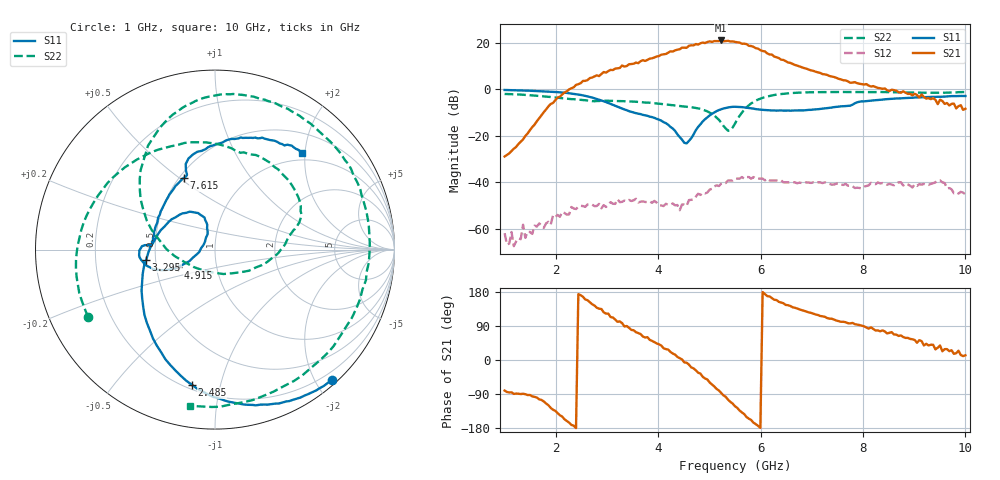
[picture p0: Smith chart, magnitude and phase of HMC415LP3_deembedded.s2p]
!Hittite Microwave Corporation
!12 Elizabeth Drive
!Chelmsford, MA 01824
!Tel: 978-250-3343
!Fax: 978-250-3373
!Device: HMC415LP3, 4.9-5.9 GHz, GaAS InGaP HBT MMIC Power Amplifier in Leadless LP3 SMT Package
!Misc: Input reference is the input pin of the device, output reference is the last component on output line, Vs=3V, Vpd=3V, Room
# MHZ S MA R 50
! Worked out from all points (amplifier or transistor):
!   201 points, 1 GHz to 10 GHz, reference 50 ohm
!   highest |S21| = 21.1 dB at 5.23 GHz (marker M1)
!   |S21| within 3 dB of that: 4.564 GHz to 5.88 GHz (1.317 GHz wide, 25.2 % of centre)
!   unconditionally stable (mu >= 1): start of sweep to end of sweep
!   at 2.485 GHz: K = 31.13, MAG = 8.5 dB, |S12| = -50.1 dB
!   at 5.5 GHz: K = 3.12, MAG = 21.6 dB, |S12| = -38.4 dB
!   at 10 GHz: K = 24.43, MAG = 1.6 dB, |S12| = -45.2 dB
!   S11 on the Smith chart (normalised r, x): 1 GHz: 0.07, -2.24; 2.485 GHz: 0.23, -0.82; 3.295 GHz: 0.44, -0.06; 4.915 GHz: 0.65, -0.14; 7.615 GHz: 0.53, +0.52; 10 GHz: 0.86, +1.95
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1000  0.976 -48.0  0.036 -80.7  0.0008044 175.2  0.801 -152.1
2485  0.764 -99.7  1.364 171.1  0.003116 130.2  0.599 94.6
2530  0.747 -102.5  1.529 166.9  0.003079 144.8  0.592 91.0
3295  0.387 -171.7  3.285 97.3  0.003798 112.2  0.561 42.1
4015  0.224 114.7  5.254 41.4  0.003229 92.0  0.495 18.0
4330  0.128 110.2  6.955 14.1  0.003186 105.5  0.452 14.0
4600  0.078 174.5  8.726 -12.2  0.004143 124.1  0.421 10.1
4825  0.178 -155.2  9.88 -35.9  0.005343 130.0  0.383 2.6
4915  0.229 -154.3  10 -48.8  0.005757 126.9  0.354 -3.0
4960  0.251 -154.9  10.53 -51.4  0.006049 126.5  0.338 -5.8
5005  0.276 -156.3  10.89 -59.3  0.006962 124.4  0.318 -9.1
5230  0.374 -164.5  11.38 -87.0  0.009359 112.9  0.194 -40.2
5365  0.409 -170.6  11.18 -104.9  0.011 107.3  0.129 -92.2
5500  0.424 -175.9  10.62 -122.1  0.012 95.8  0.184 -158.0
5725  0.407 177.2  9.514 -150.4  0.013 79.1  0.412 157.1
5995  0.37 176.0  7.051 -179.2  0.012 59.6  0.633 129.2
6130  0.36 176.3  5.985 168.5  0.012 52.1  0.707 119.8
6490  0.35 170.2  4.092 145.2  0.01 42.5  0.818 101.4
7030  0.37 145.0  2.518 122.3  0.009943 35.2  0.873 81.8
7615  0.435 113.6  1.581 100.9  0.008759 20.8  0.883 62.6
8515  0.624 81.4  0.923 71.6  0.009261 11.7  0.876 22.4
10000  0.724 47.8  0.385 12.4  0.005479 -48.6  0.882 -99.2
